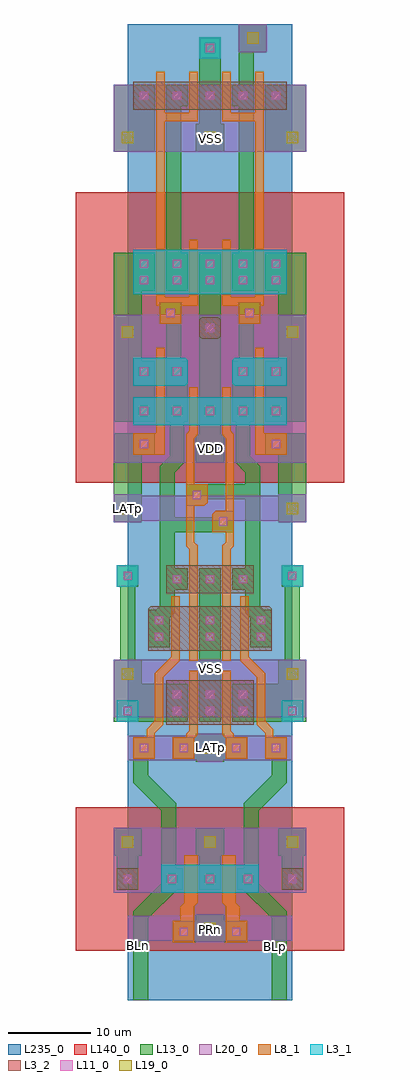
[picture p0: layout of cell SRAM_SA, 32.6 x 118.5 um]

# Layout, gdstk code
import gdstk
lib = gdstk.Library(unit=1e-6, precision=1e-09)
def R(c, l, rs):  # rectangles x0, y0, x1, y1
    for r in rs: c.add(gdstk.rectangle(r[:2], r[2:], *l))
def A(c, l, x, y, w, h, nx, ny, dx, dy):  # array of equal rectangles
    R(c, l, [(x+i*dx, y+j*dy, x+i*dx+w, y+j*dy+h) for i in range(nx) for j in range(ny)])
def P(c, l, *ps):  # polygons
    for p in ps: c.add(gdstk.Polygon(p, *l))
L3_1 = (3, 1)
L3_2 = (3, 2)
L8_1 = (8, 1)
L11_0 = (11, 0)
L13_0 = (13, 0)
L19_0 = (19, 0)
L20_0 = (20, 0)
L140_0 = (140, 0)
L235_0 = (235, 0)

sram_sa = lib.new_cell('SRAM_SA')
R(sram_sa, L3_1, [(-5.9,-44.8,5.9,-41.4), (-11.3,-24,-8.7,-21.4), (8.7,-24,11.3,-21.4), (-9.3,12,9.3,15.4), (-9.3,27.9,9.3,33.3), (-1.3,56.5,1.3,59.1)])
P(sram_sa, L3_1, [(-9.3,16.8),(-9.3,20.2),(-3,20.2),(-2.7,19.9),(-2.7,17.1),(-3,16.8)],
  [(3,16.8),(2.7,17.1),(2.7,19.9),(3,20.2),(9.3,20.2),(9.3,16.8)],
  [(-11.3,-7.6),(-11.3,-5),(-8.7,-5),(-8.7,-7.3),(-9,-7.6)],
  [(9,-7.6),(8.7,-7.3),(8.7,-5),(11.3,-5),(11.3,-7.6)])
R(sram_sa, L3_2, [(-11.3,-44.4,-8.7,-41.8), (8.7,-44.4,11.3,-41.8), (-5.3,-24.4,5.3,-19), (-5.3,-8.4,5.3,-5), (-9.3,50.3,9.3,53.7)])
P(sram_sa, L3_2, [(-1,22.5),(-1.3,22.8),(-1.3,24.8),(-1,25.1),(1,25.1),(1.3,24.8),(1.3,22.8),(1,22.5)],
  [(-7.5,-15.4),(-7.5,-10.3),(-7.2,-10),(7.2,-10),(7.5,-10.3),(7.5,-15.4)])
P(sram_sa, L8_1, [(-4.5,-28.5),(-4.5,-25.9),(-2.9,-25.9),(-2.9,-25.5),(-2.5,-25.1),(-2.5,-17.8),(-1.5,-17.8),(-1.5,-25.6),(-1.9,-26),(-1.9,-28.5)],
  [(1.9,-28.5),(1.9,-26),(1.5,-25.6),(1.5,-17.8),(2.5,-17.8),(2.5,-25.1),(2.9,-25.5),(2.9,-25.9),(4.5,-25.9),(4.5,-28.5)],
  [(-9.3,-28.5),(-9.3,-25.9),(-7.7,-25.9),(-7.7,-24.9),(-6.7,-23.9),(-6.7,-18.1),(-4.7,-16.1),(-4.7,-8.8),(-3.7,-8.8),(-3.7,-16.6),(-5.7,-18.6),(-5.7,-24.4),(-6.7,-25.4),(-6.7,-28.5)],
  [(6.7,-28.5),(6.7,-25.4),(5.7,-24.4),(5.7,-18.6),(3.7,-16.6),(3.7,-8.8),(4.7,-8.8),(4.7,-16.1),(6.7,-18.1),(6.7,-23.9),(7.7,-24.9),(7.7,-25.9),(9.3,-25.9),(9.3,-28.5)],
  [(-6.1,24.3),(-6.1,26.5),(-6.5,26.5),(-6.5,54.9),(-5.5,54.9),(-5.5,49.9),(-2.5,49.9),(-2.5,54.9),(-1.5,54.9),(-1.5,48.9),(-5.5,48.9),(-5.5,27.5),(-2.5,27.5),(-2.5,34.5),(-1.5,34.5),(-1.5,26.5),(-3.5,26.5),(-3.5,24.3)],
  [(3.5,24.3),(3.5,26.5),(1.5,26.5),(1.5,34.5),(2.5,34.5),(2.5,27.5),(5.5,27.5),(5.5,48.9),(1.5,48.9),(1.5,54.9),(2.5,54.9),(2.5,49.9),(5.5,49.9),(5.5,54.9),(6.5,54.9),(6.5,26.5),(6.1,26.5),(6.1,24.3)],
  [(-2.5,-16.6),(-2.5,-3.1),(-2.9,-2.7),(-2.9,10.9),(-2.5,11.3),(-2.5,16.6),(-1.5,16.6),(-1.5,10.8),(-1.9,10.4),(-1.9,4.8),(-0.3,4.8),(-0.3,2.6),(-0.7,2.2),(-1.9,2.2),(-1.9,-2.2),(-1.5,-2.6),(-1.5,-16.6)],
  [(1.5,-16.6),(1.5,-2.6),(1.9,-2.2),(1.9,-1),(0.3,-1),(0.3,1.2),(0.7,1.6),(1.9,1.6),(1.9,10.4),(1.5,10.8),(1.5,16.6),(2.5,16.6),(2.5,11.3),(2.9,10.9),(2.9,-2.7),(2.5,-3.1),(2.5,-16.6)],
  [(-9.3,8.4),(-9.3,11),(-6.5,11),(-6.5,21.4),(-5.5,21.4),(-5.5,8.4)],
  [(5.5,8.4),(5.5,21.4),(6.5,21.4),(6.5,11),(9.3,11),(9.3,8.4)],
  [(-4.5,-50.8),(-4.5,-48.2),(-3.6,-48.2),(-3.6,-46.5),(-3.1,-46),(-3.1,-40.2),(-1.5,-40.2),(-1.5,-46),(-1.9,-46.4),(-1.9,-50.8)],
  [(1.9,-50.8),(1.9,-46.4),(1.5,-46),(1.5,-40.2),(3.1,-40.2),(3.1,-46),(3.6,-46.5),(3.6,-48.2),(4.5,-48.2),(4.5,-50.8)])
A(sram_sa, L11_0, -5.1, -43.6, 1, 1, 3, 1, 4.6, 0)
A(sram_sa, L11_0, -4.5, -23.2, 1, 1, 3, 2, 4, 2)
A(sram_sa, L11_0, -6.7, -14.2, 1, 1, 3, 2, 6.2, 2)
A(sram_sa, L11_0, -4.5, -7.2, 1, 1, 3, 1, 4, 0)
A(sram_sa, L11_0, -8.5, 13.2, 1, 1, 5, 2, 4, 15.9)
A(sram_sa, L11_0, -8.5, 31.1, 1, 1, 5, 2, 4, 20.4)
R(sram_sa, L11_0, [(-3.7,-50,-2.7,-49), (2.7,-50,3.7,-49), (-10.5,-43.6,-9.5,-42.6), (9.5,-43.6,10.5,-42.6), (-8.5,-27.7,-7.5,-26.7), (-3.7,-27.7,-2.7,-26.7), (2.7,-27.7,3.7,-26.7), (7.5,-27.7,8.5,-26.7), (-10.5,-23.2,-9.5,-22.2), (9.5,-23.2,10.5,-22.2), (-6.7,-12.2,-5.7,-11.2), (-6.7,-12.2,-5.7,-11.2), (5.7,-12.2,6.7,-11.2), (5.7,-12.2,6.7,-11.2), (-10.5,-6.8,-9.5,-5.8), (9.5,-6.8,10.5,-5.8), (1.1,-0.2,2.1,0.8), (-2.1,3,-1.1,4), (-8.5,9.2,-7.5,10.2), (7.5,9.2,8.5,10.2), (-8.5,18,-7.5,19), (-4.5,18,-3.5,19), (3.5,18,4.5,19), (7.5,18,8.5,19), (-0.5,23.3,0.5,24.3), (-5.3,25.1,-4.3,26.1), (4.3,25.1,5.3,26.1), (-0.5,57.3,0.5,58.3)])
R(sram_sa, L13_0, [(-1.3,-24,1.3,-5.4), (-11.7,45.2,-6.7,53.3), (6.7,45.2,11.7,53.3)])
P(sram_sa, L13_0, [(2.7,28.3),(2.7,32.9),(3.5,32.9),(3.5,50.7),(2.7,50.7),(2.7,53.3),(3.5,53.3),(3.5,60.7),(6.9,60.7),(6.9,57.3),(5.3,57.3),(5.3,28.3)],
  [(-1.5,45.2),(-1.7,45.4),(-1.7,48.6),(-1.3,48.6),(-1.3,59.1),(1.3,59.1),(1.3,48.6),(1.7,48.6),(1.7,45.4),(1.5,45.2)],
  [(-1.7,-28.9),(-1.7,-28.5),(-4.5,-28.5),(-4.5,-25.9),(-1.7,-25.9),(-1.7,-25.5),(1.7,-25.5),(1.7,-25.9),(4.5,-25.9),(4.5,-28.5),(1.7,-28.5),(1.7,-28.9)],
  [(-11.7,0.2),(-11.7,11),(-6.7,11),(-6.7,8.4),(-8.3,8.4),(-8.3,0.2)],
  [(-5.3,28.3),(-5.3,53.3),(-2.7,53.3),(-2.7,50.7),(-3.5,50.7),(-3.5,32.9),(-2.7,32.9),(-2.7,28.3)],
  [(8.3,0.2),(8.3,8.4),(6.7,8.4),(6.7,11),(11.7,11),(11.7,0.2)],
  [(-7.5,-15),(-7.5,-10.4),(-6.5,-10.4),(-6.1,-10),(-6.1,7),(-4.9,8.2),(-4.9,12.4),(-5.3,12.4),(-5.3,24.3),(-6.1,24.3),(-6.1,26.9),(-3.5,26.9),(-3.5,19.8),(-2.7,19.8),(-2.7,12.4),(-3.1,12.4),(-3.1,7.4),(-4.3,6.2),(-4.3,0.8),(0.3,0.8),(0.3,1.2),(0.7,1.6),(2.9,1.6),(2.9,-1),(-4.3,-1),(-4.3,-5.4),(-2.7,-5.4),(-2.7,-8),(-4.3,-8),(-4.3,-10.8),(-4.9,-11.4),(-4.9,-15)],
  [(4.9,-15),(4.9,-11.4),(4.3,-10.8),(4.3,-8),(2.7,-8),(2.7,-5.4),(4.3,-5.4),(4.3,3),(-0.3,3),(-0.3,2.6),(-0.7,2.2),(-2.9,2.2),(-2.9,4.8),(4.3,4.8),(4.3,6.2),(3.1,7.4),(3.1,12.4),(2.7,12.4),(2.7,19.8),(3.5,19.8),(3.5,26.9),(6.1,26.9),(6.1,24.3),(5.3,24.3),(5.3,12.4),(4.9,12.4),(4.9,8.2),(6.1,7),(6.1,-10),(6.5,-10.4),(7.5,-10.4),(7.5,-15)],
  [(-11.7,12.4),(-11.7,32.9),(-6.7,32.9),(-6.7,28.3),(-8.3,28.3),(-8.3,19.8),(-6.7,19.8),(-6.7,12.4)],
  [(-1.5,7.4),(-1.7,7.6),(-1.7,10.8),(-1.3,10.8),(-1.3,32.9),(1.3,32.9),(1.3,10.8),(1.7,10.8),(1.7,7.6),(1.5,7.4)],
  [(6.7,12.4),(6.7,19.8),(8.3,19.8),(8.3,28.3),(6.7,28.3),(6.7,32.9),(11.7,32.9),(11.7,12.4)],
  [(-11.7,-24),(-11.7,-16.5),(-10.9,-16.5),(-10.9,-7.6),(-11.3,-7.6),(-11.3,-5),(-8.7,-5),(-8.7,-7.6),(-9.1,-7.6),(-9.1,-16.5),(-8.3,-16.5),(-8.3,-19.4),(-2.7,-19.4),(-2.7,-24)],
  [(2.7,-24),(2.7,-19.4),(8.3,-19.4),(8.3,-16.5),(9.1,-16.5),(9.1,-7.6),(8.7,-7.6),(8.7,-5),(11.3,-5),(11.3,-7.6),(10.9,-7.6),(10.9,-16.5),(11.7,-16.5),(11.7,-24)],
  [(8.7,-44.4),(8.7,-40.3),(8.3,-40.3),(8.3,-36.9),(11.7,-36.9),(11.7,-40.3),(11.3,-40.3),(11.3,-44.4)],
  [(-4.5,-50.8),(-4.5,-48.2),(-1.7,-48.2),(-1.7,-47.4),(1.7,-47.4),(1.7,-48.2),(4.5,-48.2),(4.5,-50.8)],
  [(-11.3,-44.4),(-11.3,-40.3),(-11.7,-40.3),(-11.7,-36.9),(-8.3,-36.9),(-8.3,-40.3),(-8.7,-40.3),(-8.7,-44.4)],
  [(-1.3,-44.4),(-1.3,-40.3),(-1.7,-40.3),(-1.7,-36.9),(1.7,-36.9),(1.7,-40.3),(1.3,-40.3),(1.3,-44.4)],
  [(-9.3,-57.8),(-9.3,-47),(-5.9,-43.6),(-5.9,-34.8),(-9.3,-31.4),(-9.3,-25.9),(-6.7,-25.9),(-6.7,-28.5),(-7.5,-28.5),(-7.5,-30.5),(-4.1,-33.9),(-4.1,-41.8),(-3.3,-41.8),(-3.3,-44.4),(-4,-44.4),(-7.5,-47.9),(-7.5,-57.8)],
  [(7.5,-57.8),(7.5,-47.9),(4,-44.4),(3.3,-44.4),(3.3,-41.8),(4.1,-41.8),(4.1,-33.9),(7.5,-30.5),(7.5,-28.5),(6.7,-28.5),(6.7,-25.9),(9.3,-25.9),(9.3,-31.4),(5.9,-34.8),(5.9,-43.6),(9.3,-47),(9.3,-57.8)])
A(sram_sa, L19_0, -10.7, -39.3, 1.4, 1.4, 3, 1, 10, 0)
R(sram_sa, L19_0, [(-0.7,-49.8,0.7,-48.4), (-0.7,-27.9,0.7,-26.5), (-10.7,-18.9,-9.3,-17.5), (9.3,-18.9,10.7,-17.5), (-10.7,1.2,-9.3,2.6), (9.3,1.2,10.7,2.6), (-0.7,8.4,0.7,9.8), (-10.7,22.6,-9.3,24), (9.3,22.6,10.7,24), (-10.7,46.2,-9.3,47.6), (-10.7,46.2,-9.3,47.6), (-0.7,46.2,0.7,47.6), (-0.7,46.2,0.7,47.6), (9.3,46.2,10.7,47.6), (9.3,46.2,10.7,47.6), (9.3,46.2,10.7,47.6), (9.3,46.2,10.7,47.6), (4.5,58.3,5.9,59.7)])
R(sram_sa, L20_0, [(-11.7,-44.8,11.7,-36.9), (-11.7,-23.5,11.7,-16.5), (-11.7,7.4,11.7,25.4), (-11.7,45.2,11.7,53.3), (3.5,57.3,6.9,60.7)])
P(sram_sa, L20_0, [(-11.7,0.2),(-11.7,3.6),(-8.3,3.6),(-8.3,3.4),(8.3,3.4),(8.3,3.6),(11.7,3.6),(11.7,0.2),(8.3,0.2),(8.3,0.4),(-8.3,0.4),(-8.3,0.2)],
  [(-1.7,-50.8),(-1.7,-50.6),(-10,-50.6),(-10,-47.6),(-1.7,-47.6),(-1.7,-47.4),(1.7,-47.4),(1.7,-47.6),(10,-47.6),(10,-50.6),(1.7,-50.6),(1.7,-50.8)],
  [(-1.5,-28.9),(-1.7,-28.7),(-10,-28.7),(-10,-25.7),(-1.7,-25.7),(-1.5,-25.5),(1.5,-25.5),(1.7,-25.7),(10,-25.7),(10,-28.7),(1.7,-28.7),(1.5,-28.9)])
R(sram_sa, L140_0, [(-16.3,-51.8,16.3,-34.4), (-16.3,5,16.3,40.3)])
R(sram_sa, L235_0, [(-10,-57.8,10,60.7)])
sram_sa.add(gdstk.Label('VSS', (0,46.8), layer=49, texttype=0))
sram_sa.add(gdstk.Label('VDD', (0,9.1), layer=49, texttype=0))
sram_sa.add(gdstk.Label('LATp', (-10,1.9), layer=49, texttype=0))
sram_sa.add(gdstk.Label('PRn', (0,-49.2), layer=49, texttype=0))
sram_sa.add(gdstk.Label('VSS', (0,-17.6), layer=49, texttype=0))
sram_sa.add(gdstk.Label('LATp', (0,-27.2), layer=49, texttype=0))
sram_sa.add(gdstk.Label('BLp', (8,-51.3), layer=48, texttype=0))
sram_sa.add(gdstk.Label('BLn', (-8.7,-51.2), layer=48, texttype=0))

lib.write_gds('SRAM_SA.gds')
